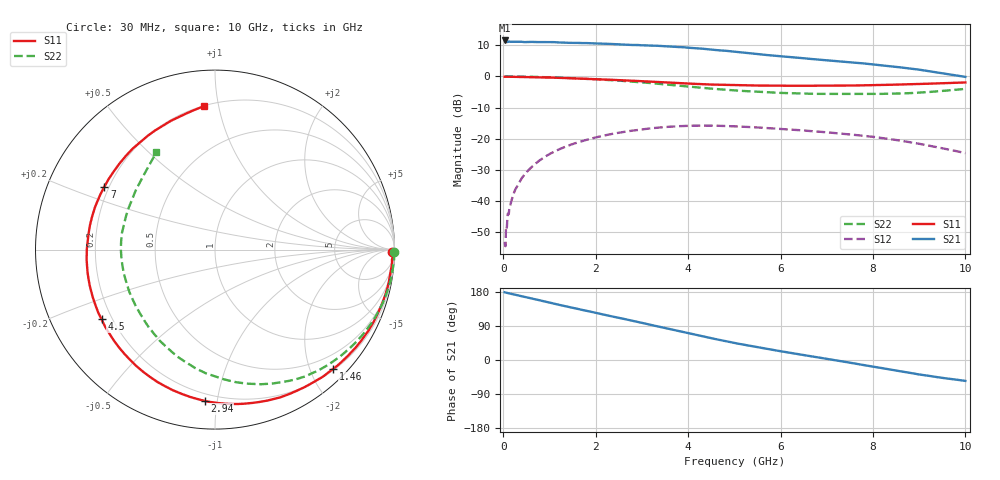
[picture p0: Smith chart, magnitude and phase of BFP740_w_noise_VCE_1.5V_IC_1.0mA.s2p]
! (c) 2016  Infineon Technologies AG, Munich
! Infineon Technologies  Discrete & RF Semiconductors
! BFP740
! VCE =  1.5 V,  IC =  1.0 mA
! Common Emitter S-Parameters:  Jan 2016
# GHz  S  MA  R  50
!  f  S11  S21  S12  S22
! GHz  MAG  ANG  MAG  ANG  MAG  ANG  MAG  ANG
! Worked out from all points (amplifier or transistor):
!   229 points, 30 MHz to 10 GHz, reference 50 ohm
!   highest |S21| = 11.5 dB at 30 MHz (marker M1)
!   |S21| within 3 dB of that: start of sweep to 4.569 GHz
!   unconditionally stable (mu >= 1): 8.883 GHz to end of sweep
!   at 280 MHz: K = 0.03, MSG = 23.5 dB, |S12| = -35.8 dB
!   at 1.78 GHz: K = 0.16, MSG = 15.6 dB, |S12| = -20.4 dB
!   at 10 GHz: K = 1.37, MAG = 8.6 dB, |S12| = -24.6 dB
!   lowest NFmin = 0.50 dB at 450 MHz
!   S11 on the Smith chart (normalised r, x): 30 MHz: open; 1.46 GHz: 0.22, -2.37; 2.94 GHz: 0.16, -0.92; 4.5 GHz: 0.16, -0.28; 7 GHz: 0.18, +0.26; 10 GHz: 0.20, +0.91
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0.03  0.9888 -0.9  3.778 178.6  0.0022 89.7  0.9991 -0.7
0.04  0.9897 -1.2  3.57 178.3  0.002 85.4  1 -0.9
0.05  0.9912 -1.5  3.569 178.4  0.0019 83.8  0.9997 -1.2
0.06  0.9894 -1.9  3.597 177.8  0.0038 73.4  0.9993 -1.4
0.08  0.9903 -2.5  3.595 177.2  0.0039 87.3  0.9993 -1.8
0.1  0.9876 -3.2  3.588 176.7  0.0063 91.0  1 -2.2
0.4  0.984 -12.3  3.594 168.2  0.0233 80.3  0.9934 -9.0
0.9  0.9668 -27.9  3.564 154.4  0.0513 68.3  0.9751 -20.3
1.46  0.9353 -45.4  3.46 138.9  0.0803 54.6  0.9404 -32.9
1.7  0.9214 -53.0  3.428 132.4  0.0916 49.0  0.9233 -38.2
2.3  0.887 -72.7  3.329 116.4  0.1177 34.8  0.8744 -52.2
2.94  0.8447 -93.9  3.183 99.7  0.14 20.3  0.8098 -67.2
3.4  0.8106 -110.0  3.082 87.1  0.1521 9.5  0.7568 -78.9
3.9  0.7753 -127.7  2.942 73.5  0.1605 -2.3  0.6988 -91.9
4.5  0.742 -148.4  2.705 57.6  0.1625 -15.8  0.6382 -107.4
5.1  0.7232 -167.1  2.454 42.7  0.1578 -27.9  0.5931 -121.4
5.8  0.7103 175.1  2.179 27.3  0.147 -40.1  0.5526 -137.0
6.8  0.7088 154.4  1.873 7.0  0.1308 -55.2  0.5259 -160.9
7  0.7094 150.4  1.815 2.9  0.1272 -58.0  0.5251 -165.8
8.4  0.7364 120.7  1.451 -25.8  0.0982 -76.6  0.5296 159.7
9  0.7588 108.7  1.285 -38.2  0.0833 -83.0  0.5517 143.1
10  0.8017 94.4  0.984 -55.2  0.059 -86.8  0.632 121.1
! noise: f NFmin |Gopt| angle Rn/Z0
0.45  0.5  0.62  13  0.41
0.9  0.58  0.64  21  0.39
1.5  0.71  0.61  32  0.38
1.9  0.76  0.58  45  0.37
2.4  0.81  0.58  52  0.35
3.5  0.96  0.55  78  0.32
5.5  1.37  0.4  148  0.29
10  2.28  0.63  -92  0.39
